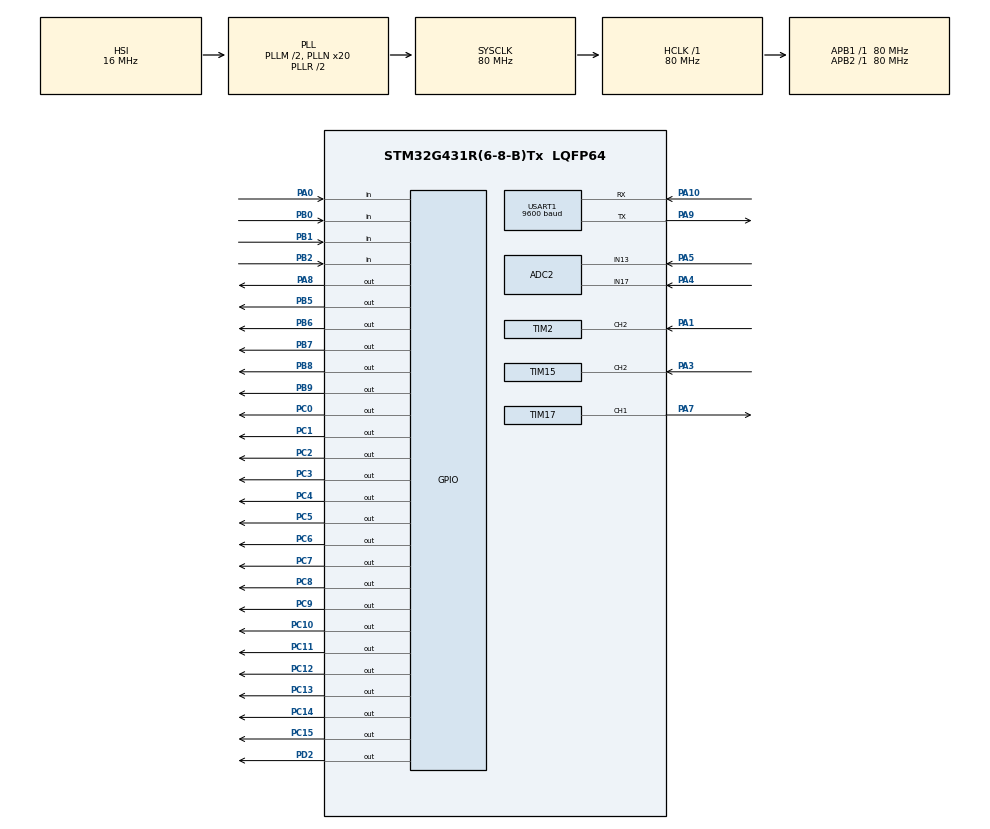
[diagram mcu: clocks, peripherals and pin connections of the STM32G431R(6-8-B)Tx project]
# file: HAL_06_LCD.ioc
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ADC2.Channel-0\#ChannelRegularConversion=ADC_CHANNEL_17
ADC2.Channel-1\#ChannelRegularConversion=ADC_CHANNEL_13
ADC2.DiscontinuousConvMode=ENABLE
ADC2.NbrOfConversion=2
ADC2.NbrOfConversionFlag=1
ADC2.OffsetNumber-0\#ChannelRegularConversion=ADC_OFFSET_NONE
ADC2.OffsetNumber-1\#ChannelRegularConversion=ADC_OFFSET_NONE
ADC2.Rank-0\#ChannelRegularConversion=1
ADC2.Rank-1\#ChannelRegularConversion=2
ADC2.SamplingTime-0\#ChannelRegularConversion=ADC_SAMPLETIME_2CYCLES_5
ADC2.SamplingTime-1\#ChannelRegularConversion=ADC_SAMPLETIME_2CYCLES_5
Mcu.Family=STM32G4
Mcu.Name=STM32G431R(6-8-B)Tx
Mcu.Package=LQFP64
NVIC.PriorityGroup=NVIC_PRIORITYGROUP_4
NVIC.TIM1_BRK_TIM15_IRQn=true\:0\:0\:false\:false\:true\:true\:true\:true
NVIC.TIM1_UP_TIM16_IRQn=true\:0\:0\:false\:false\:true\:true\:true\:true
NVIC.TIM2_IRQn=true\:0\:0\:false\:false\:true\:true\:true\:true
NVIC.USART1_IRQn=true\:0\:0\:false\:false\:true\:true\:true\:true
PA0.Signal=GPIO_Input
PA1.Signal=S_TIM2_CH2
PA10.Mode=Asynchronous
PA10.Signal=USART1_RX
PA3.Signal=S_TIM15_CH2
PA4.Mode=IN17-Single-Ended
PA4.Signal=ADC2_IN17
PA5.Mode=IN13-Single-Ended
PA5.Signal=ADC2_IN13
PA7.Signal=S_TIM17_CH1
PA8.Signal=GPIO_Output
PA9.Mode=Asynchronous
PA9.Signal=USART1_TX
PB0.Signal=GPIO_Input
PB1.Signal=GPIO_Input
PB2.Signal=GPIO_Input
PB5.Signal=GPIO_Output
PB6.Signal=GPIO_Output
PB7.Signal=GPIO_Output
PB8-BOOT0.Signal=GPIO_Output
PB9.Signal=GPIO_Output
PC0.Signal=GPIO_Output
PC1.Signal=GPIO_Output
PC10.PinState=GPIO_PIN_SET
PC10.Signal=GPIO_Output
PC11.PinState=GPIO_PIN_SET
PC11.Signal=GPIO_Output
PC12.PinState=GPIO_PIN_SET
PC12.Signal=GPIO_Output
PC13.PinState=GPIO_PIN_SET
PC13.Signal=GPIO_Output
PC14-OSC32_IN.PinState=GPIO_PIN_SET
PC14-OSC32_IN.Signal=GPIO_Output
PC15-OSC32_OUT.PinState=GPIO_PIN_SET
PC15-OSC32_OUT.Signal=GPIO_Output
PC2.Signal=GPIO_Output
PC3.Signal=GPIO_Output
PC4.Signal=GPIO_Output
PC5.Signal=GPIO_Output
PC6.Signal=GPIO_Output
PC7.Signal=GPIO_Output
PC8.PinState=GPIO_PIN_SET
PC8.Signal=GPIO_Output
PC9.PinState=GPIO_PIN_SET
PC9.Signal=GPIO_Output
PD2.Signal=GPIO_Output
PF0-OSC_IN.Mode=HSE-External-Oscillator
PF0-OSC_IN.Signal=RCC_OSC_IN
PF1-OSC_OUT.Mode=HSE-External-Oscillator
PF1-OSC_OUT.Signal=RCC_OSC_OUT
ProjectManager.HeapSize=0x200
ProjectManager.StackSize=0x400
ProjectManager.TargetToolchain=MDK-ARM V5.27
RCC.ADC12Freq_Value=80000000
RCC.AHBFreq_Value=80000000
RCC.APB1Freq_Value=80000000
RCC.APB1TimFreq_Value=80000000
RCC.APB2Freq_Value=80000000
RCC.APB2TimFreq_Value=80000000
RCC.CortexFreq_Value=80000000
RCC.EXTERNAL_CLOCK_VALUE=12288000
RCC.HCLKFreq_Value=80000000
RCC.HSE_VALUE=24000000
RCC.HSI48_VALUE=48000000
RCC.HSI_VALUE=16000000
RCC.LSE_VALUE=32768
RCC.PLLM=RCC_PLLM_DIV2
RCC.PLLN=20
RCC.SYSCLKFreq_VALUE=80000000
RCC.SYSCLKSource=RCC_SYSCLKSOURCE_PLLCLK
RCC.USBFreq_Value=80000000
RCC.VCOOutputFreq_Value=160000000
SH.S_TIM15_CH2.0=TIM15_CH2,Input_Capture2_from_TI2
SH.S_TIM17_CH1.0=TIM17_CH1,PWM Generation1 CH1
SH.S_TIM2_CH2.0=TIM2_CH2,Input_Capture2_from_TI2
TIM15.AutoReloadPreload=TIM_AUTORELOAD_PRELOAD_DISABLE
TIM15.Channel-Input_Capture2_from_TI2=TIM_CHANNEL_2
TIM15.PeriodNoDither=65535
TIM15.Prescaler=800-1
TIM16.PeriodNoDither=10000-1
TIM16.Prescaler=400-1
TIM17.AutoReloadPreload=TIM_AUTORELOAD_PRELOAD_ENABLE
TIM17.Channel=TIM_CHANNEL_1
TIM17.PeriodNoDither=1000
TIM17.Prescaler=80
TIM17.PulseNoDither_1=40
TIM2.Channel-Input_Capture2_from_TI2=TIM_CHANNEL_2
TIM2.PeriodNoDither=65535
TIM2.Prescaler=800-1
USART1.BaudRate=9600
USART1.VirtualMode-Asynchronous=VM_ASYNC
VP_SYS_VS_DBSignals.Mode=DisableDeadBatterySignals
VP_TIM16_VS_ClockSourceINT.Mode=Enable_Timer
VP_TIM17_VS_ClockSourceINT.Mode=Enable_Timer
board=custom

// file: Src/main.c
/* USER CODE BEGIN Header */
/**
  ******************************************************************************
  * @file           : main.c
  * @brief          : Main program body
  ******************************************************************************
  * @attention
  *
  * <h2><center>&copy; Copyright (c) 2024 STMicroelectronics.
  * All rights reserved.</center></h2>
  *
  * This software component is licensed by ST under BSD 3-Clause license,
  * the "License"; You may not use this file except in compliance with the
  * License. You may obtain a copy of the License at:
  *                        opensource.org/licenses/BSD-3-Clause
  *
  ******************************************************************************
  */
/* USER CODE END Header */

#include "main.h"
#include "adc.h"
#include "tim.h"
#include "usart.h"
#include "gpio.h"

/* USER CODE BEGIN Includes */
#include "lcd/lcd.h"
#include "key/key.h"
#include "adc/myadc.h"
#include "stdio.h"
#include "menu/menu.h"
#include "led/led.h"
/* USER CODE END Includes */

void SystemClock_Config(void);

int main(void)
{

  /* MCU Configuration--------------------------------------------------------*/

  /* Reset of all peripherals, Initializes the Flash interface and the Systick. */
  HAL_Init();

  /* Configure the system clock */
  SystemClock_Config();

  /* Initialize all configured peripherals */
  MX_GPIO_Init();
  MX_TIM16_Init();
  MX_ADC2_Init();
  MX_TIM2_Init();
  MX_TIM17_Init();
  MX_USART1_UART_Init();
  MX_TIM15_Init();
  /* USER CODE BEGIN 2 */
  led_set_pin((1 << 0) | (1<<3));
  key_init();
  LCD_Init();
  menu_init();
  LCD_Clear(Black);
  LCD_SetBackColor(Black);
  LCD_SetTextColor(White);

  HAL_TIM_Base_Start_IT(&htim16);
  HAL_TIM_IC_Start_IT(&htim2, TIM_CHANNEL_2);
  //HAL_TIM_IC_Start_IT(&htim15, TIM_CHANNEL_2);
  HAL_TIM_PWM_Start(&htim17, TIM_CHANNEL_1);
  /* USER CODE END 2 */

  /* Infinite loop */
  /* USER CODE BEGIN WHILE */
  HAL_UART_Transmit(&huart1, "hello world\r\n", 14, 500);
  extern uint8_t rxdata_t;
  HAL_UART_Receive_IT(&huart1, &rxdata_t, 1);
  while (1)
  {

	menu_main();
    /* USER CODE END WHILE */

  }
}

void SystemClock_Config(void)
{
  RCC_OscInitTypeDef RCC_OscInitStruct = {0};
  RCC_ClkInitTypeDef RCC_ClkInitStruct = {0};
  RCC_PeriphCLKInitTypeDef PeriphClkInit = {0};

  /** Configure the main internal regulator output voltage
  */
  HAL_PWREx_ControlVoltageScaling(PWR_REGULATOR_VOLTAGE_SCALE1);
  /** Initializes the CPU, AHB and APB busses clocks
  */
  RCC_OscInitStruct.OscillatorType = RCC_OSCILLATORTYPE_HSI;
  RCC_OscInitStruct.HSIState = RCC_HSI_ON;
  RCC_OscInitStruct.HSICalibrationValue = RCC_HSICALIBRATION_DEFAULT;
  RCC_OscInitStruct.PLL.PLLState = RCC_PLL_ON;
  RCC_OscInitStruct.PLL.PLLSource = RCC_PLLSOURCE_HSI;
  RCC_OscInitStruct.PLL.PLLM = RCC_PLLM_DIV2;
  RCC_OscInitStruct.PLL.PLLN = 20;
  RCC_OscInitStruct.PLL.PLLP = RCC_PLLP_DIV2;
  RCC_OscInitStruct.PLL.PLLQ = RCC_PLLQ_DIV2;
  RCC_OscInitStruct.PLL.PLLR = RCC_PLLR_DIV2;
  if (HAL_RCC_OscConfig(&RCC_OscInitStruct) != HAL_OK)
  {
    Error_Handler();
  }
  /** Initializes the CPU, AHB and APB busses clocks
  */
  RCC_ClkInitStruct.ClockType = RCC_CLOCKTYPE_HCLK|RCC_CLOCKTYPE_SYSCLK
                              |RCC_CLOCKTYPE_PCLK1|RCC_CLOCKTYPE_PCLK2;
  RCC_ClkInitStruct.SYSCLKSource = RCC_SYSCLKSOURCE_PLLCLK;
  RCC_ClkInitStruct.AHBCLKDivider = RCC_SYSCLK_DIV1;
  RCC_ClkInitStruct.APB1CLKDivider = RCC_HCLK_DIV1;
  RCC_ClkInitStruct.APB2CLKDivider = RCC_HCLK_DIV1;

  if (HAL_RCC_ClockConfig(&RCC_ClkInitStruct, FLASH_LATENCY_3) != HAL_OK)
  {
    Error_Handler();
  }
  /** Initializes the peripherals clocks
  */
  PeriphClkInit.PeriphClockSelection = RCC_PERIPHCLK_USART1|RCC_PERIPHCLK_ADC12;
  PeriphClkInit.Usart1ClockSelection = RCC_USART1CLKSOURCE_PCLK2;
  PeriphClkInit.Adc12ClockSelection = RCC_ADC12CLKSOURCE_SYSCLK;
  if (HAL_RCCEx_PeriphCLKConfig(&PeriphClkInit) != HAL_OK)
  {
    Error_Handler();
  }
}

void Error_Handler(void)
{
}

/************************ (C) COPYRIGHT STMicroelectronics *****END OF FILE****/
